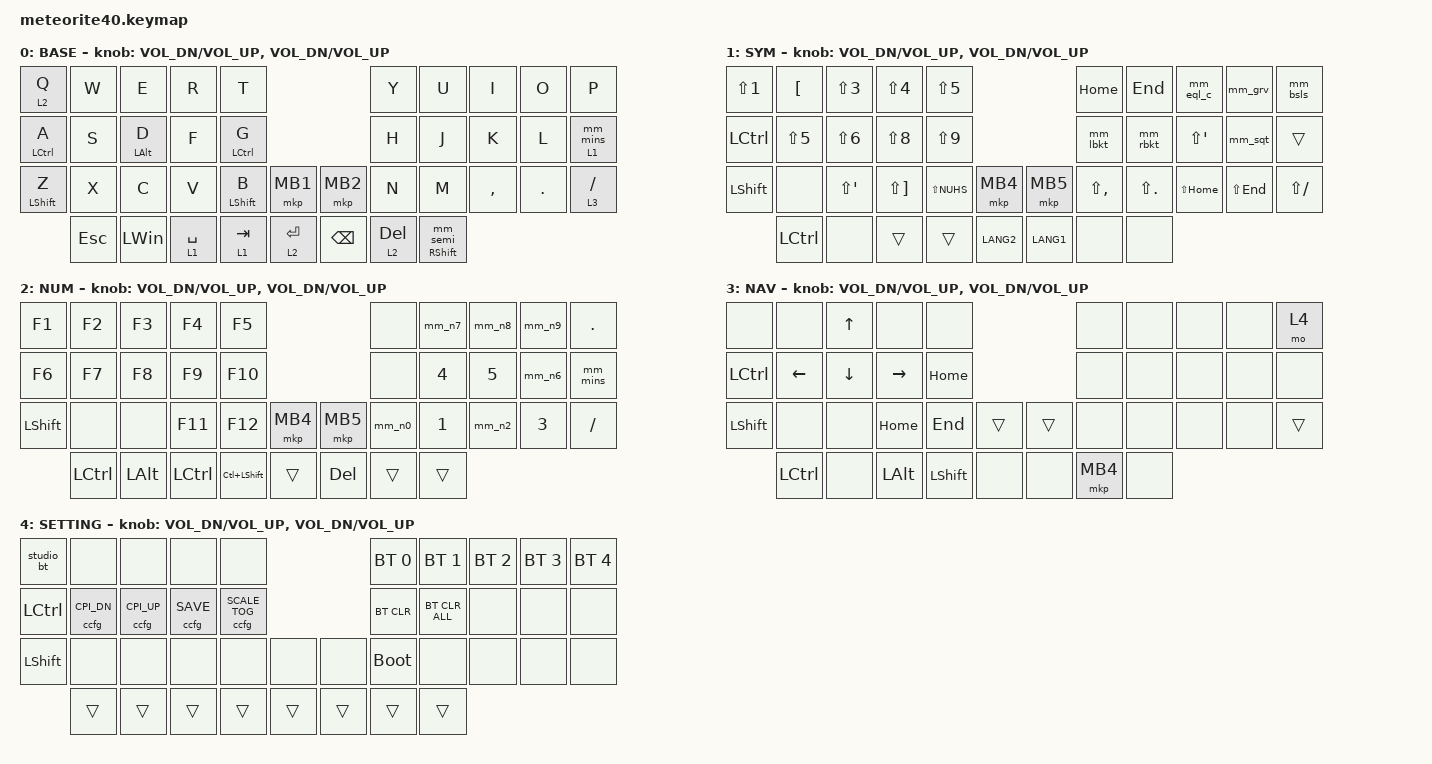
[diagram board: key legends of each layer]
#include <behaviors.dtsi>
#include <dt-bindings/zmk/bt.h>
#include <dt-bindings/zmk/keys.h>

#define ZMK_POINTING_DEFAULT_SCRL_VAL 200
#include <dt-bindings/zmk/pointing.h>

#include <behaviors/custom_config.dtsi>
#include <behaviors/meteorite_custom_key.dtsi>
#include <behaviors/meteorite_bt_os.dtsi>
#include <behaviors/meteorite_mod_key.dtsi>
#include <behaviors/meteorite_os_key.dtsi>
#include <behaviors/studio_bt_disc.dtsi>
#include <dt-bindings/zmk/custom_config.h>
#include <dt-bindings/zmk/meteorite_custom_keys.h>
#include <dt-bindings/zmk/meteorite_bt_os.h>

// ---------------------------------------------------------------------------
// murai keymap: Keyball39のUS配列レイアウトを移植し、OSはJIS設定のまま
// US配列の打鍵感で使う。Shiftペアの差異は mod-morph で吸収する。
//
// JIS設定のOSで目的の文字が出るキーコード定義 (US刻印基準)
#define JP_AT    LBKT       // @
#define JP_CIRC  EQUAL      // ^
#define JP_AMPR  LS(N6)     // &
#define JP_ASTR  LS(SQT)    // *
#define JP_LPRN  LS(N8)     // (
#define JP_RPRN  LS(N9)     // )
#define JP_UNDS  LS(INT1)   // _
#define JP_EQL   LS(MINUS)  // =
#define JP_PLUS  LS(SEMI)   // +
#define JP_LBKT  RBKT       // [
#define JP_LCBR  LS(RBKT)   // {
#define JP_RBKT  NUHS       // ]
#define JP_RCBR  LS(NUHS)   // }
#define JP_BSLS  INT3       // (yen)
#define JP_PIPE  LS(INT3)   // |
#define JP_COLN  SQT        // :
#define JP_QUOT  LS(N7)     // '
#define JP_DQUO  LS(N2)     // "
#define JP_GRV   LS(LBKT)   // `
#define JP_TILD  LS(EQUAL)  // ~

&mt {
    flavor = "tap-preferred"; // change hold to tap
    tapping-term-ms = <200>;
    meteorite-tapping-term-source = "mod-tap";
    quick-tap-ms = <150>; // change 200 to 150
    require-prior-idle-ms = <(-1)>;
};

&lt {
    flavor = "tap-preferred";
    tapping-term-ms = <150>; // change 200 to 150
    meteorite-tapping-term-source = "layer-tap";
    quick-tap-ms = <150>; // change 200 to 150
    require-prior-idle-ms = <(-1)>;
};

/ {
    behaviors {
        // ---- US→JIS変換 mod-morph (Shift押下時だけ別コードを送る) ----
        // 単押し/Shift押しがUS配列と同じ文字になるよう、JIS上のコードへ差し替える
        mm_n2: mm_n2 { // 2 @
            compatible = "zmk,behavior-mod-morph"; #binding-cells = <0>;
            bindings = <&kp N2>, <&kp JP_AT>;
            mods = <(MOD_LSFT|MOD_RSFT)>;
        };
        mm_n6: mm_n6 { // 6 ^
            compatible = "zmk,behavior-mod-morph"; #binding-cells = <0>;
            bindings = <&kp N6>, <&kp JP_CIRC>;
            mods = <(MOD_LSFT|MOD_RSFT)>;
        };
        mm_n7: mm_n7 { // 7 &
            compatible = "zmk,behavior-mod-morph"; #binding-cells = <0>;
            bindings = <&kp N7>, <&kp JP_AMPR>;
            mods = <(MOD_LSFT|MOD_RSFT)>;
        };
        mm_n8: mm_n8 { // 8 *
            compatible = "zmk,behavior-mod-morph"; #binding-cells = <0>;
            bindings = <&kp N8>, <&kp JP_ASTR>;
            mods = <(MOD_LSFT|MOD_RSFT)>;
        };
        mm_n9: mm_n9 { // 9 (
            compatible = "zmk,behavior-mod-morph"; #binding-cells = <0>;
            bindings = <&kp N9>, <&kp JP_LPRN>;
            mods = <(MOD_LSFT|MOD_RSFT)>;
        };
        mm_n0: mm_n0 { // 0 )
            compatible = "zmk,behavior-mod-morph"; #binding-cells = <0>;
            bindings = <&kp N0>, <&kp JP_RPRN>;
            mods = <(MOD_LSFT|MOD_RSFT)>;
        };
        mm_mins: mm_mins { // - _
            compatible = "zmk,behavior-mod-morph"; #binding-cells = <0>;
            bindings = <&kp MINUS>, <&kp JP_UNDS>;
            mods = <(MOD_LSFT|MOD_RSFT)>;
        };
        mm_eql: mm_eql { // = +
            compatible = "zmk,behavior-mod-morph"; #binding-cells = <0>;
            bindings = <&kp JP_EQL>, <&kp JP_PLUS>;
            mods = <(MOD_LSFT|MOD_RSFT)>;
        };
        mm_eql_c: mm_eql_c { // Ctrl併用時はJISの';'キーを送る
            // JISで'='は Shift+'-' のためアプリには Ctrl+Shift+'-' に見え、
            // キー位置(VK)でショートカット判定するアプリ(Zed等)の Ctrl+= が効かない。
            // JISの';'キーはUS配列の'='キーと同じVK_OEM_PLUSなので、Ctrl中はそれを送って
            // ズームイン等のショートカットを通す(Shift併用のブラウザズームもOK)。
            compatible = "zmk,behavior-mod-morph"; #binding-cells = <0>;
            bindings = <&mm_eql>, <&kp SEMI>;
            mods = <(MOD_LCTL|MOD_RCTL)>;
            keep-mods = <(MOD_LCTL|MOD_RCTL)>;
        };
        mm_lbkt: mm_lbkt { // [ {
            compatible = "zmk,behavior-mod-morph"; #binding-cells = <0>;
            bindings = <&kp JP_LBKT>, <&kp JP_LCBR>;
            mods = <(MOD_LSFT|MOD_RSFT)>;
        };
        mm_rbkt: mm_rbkt { // ] }
            compatible = "zmk,behavior-mod-morph"; #binding-cells = <0>;
            bindings = <&kp JP_RBKT>, <&kp JP_RCBR>;
            mods = <(MOD_LSFT|MOD_RSFT)>;
        };
        mm_bsls: mm_bsls { // \ |
            compatible = "zmk,behavior-mod-morph"; #binding-cells = <0>;
            bindings = <&kp JP_BSLS>, <&kp JP_PIPE>;
            mods = <(MOD_LSFT|MOD_RSFT)>;
        };
        mm_semi: mm_semi { // ; :
            compatible = "zmk,behavior-mod-morph"; #binding-cells = <0>;
            bindings = <&kp SEMI>, <&kp JP_COLN>;
            mods = <(MOD_LSFT|MOD_RSFT)>;
        };
        mm_sqt: mm_sqt { // ' "
            compatible = "zmk,behavior-mod-morph"; #binding-cells = <0>;
            bindings = <&kp JP_QUOT>, <&kp JP_DQUO>;
            mods = <(MOD_LSFT|MOD_RSFT)>;
        };
        mm_grv: mm_grv { // ` ~
            compatible = "zmk,behavior-mod-morph"; #binding-cells = <0>;
            bindings = <&kp JP_GRV>, <&kp JP_TILD>;
            mods = <(MOD_LSFT|MOD_RSFT)>;
        };

        // ---- mod-morphをタップ側に持つ hold-tap ----
        lt_mins: lt_mins { // ホールド=レイヤー / タップ= -(Shiftで_)
            compatible = "zmk,behavior-hold-tap";
            #binding-cells = <2>;
            flavor = "tap-preferred";
            tapping-term-ms = <150>;
            meteorite-tapping-term-source = "layer-tap";
            quick-tap-ms = <150>;
            bindings = <&mo>, <&mm_mins>;
            display-name = "LT minus(JIS)";
        };
        mt_semi: mt_semi { // ホールド=修飾 / タップ= ;(Shiftで:)
            compatible = "zmk,behavior-hold-tap";
            #binding-cells = <2>;
            flavor = "tap-preferred";
            tapping-term-ms = <200>;
            meteorite-tapping-term-source = "mod-tap";
            quick-tap-ms = <150>;
            bindings = <&kp>, <&mm_semi>;
            display-name = "MT semi(JIS)";
        };

        enc_msc: encoder_mouse_scroll {
            compatible = "zmk,behavior-sensor-rotate-var";
            #sensor-binding-cells = <2>;
            bindings = <&msc>, <&msc>;
            tap-ms = <25>;
            display-name = "Encoder Mouse Scroll";
        };

        enc_kp: encoder_key_press {
            compatible = "zmk,behavior-sensor-rotate-var";
            #sensor-binding-cells = <2>;
            bindings = <&kp>, <&kp>;
            tap-ms = <25>;
            display-name = "Encoder Key Press";
        };
    };

    // 出荷時コンボは誤爆防止のためゼロ (IMEは記号レイヤー+親指に移設)。
    // ノード自体はStudioコンボ編集基盤(combo.c)のコンパイルに必須なので空で残す。
    // 必要になればMeteorite Studioからコンボを追加できる。
    combos {
        compatible = "zmk,combos";
    };

    keymap {
        compatible = "zmk,keymap";
        layout = &LAYOUT_SPLIT_SPACE;

        win_default_layer {
            display-name = "BASE";
            bindings = <
                &lt 2 Q       &kp W  &kp E        &kp R  &kp T                                    &kp Y  &kp U  &kp I      &kp O    &kp P
                &mt LCTRL A   &kp S  &mt LALT D   &kp F  &mt LCTRL G                              &kp H  &kp J  &kp K      &kp L    &lt_mins 1 0
                &mt LSHIFT Z  &kp X  &kp C        &kp V  &mt LSHIFT B   &mkp MB1     &mkp MB2     &kp N  &kp M  &kp COMMA  &kp DOT  &lt 3 SLASH
                            &kp ESC  &kp LWIN  &lt 1 SPACE  &lt 1 TAB  &lt 2 ENTER    &kp BSPC  &lt 2 DEL  &mt_semi RSHIFT 0
            >;
            sensor-bindings =
                <&enc_kp C_VOL_DN C_VOL_UP>,
                <&enc_kp C_VOL_DN C_VOL_UP>;
        };

        layer_1 {
            display-name = "SYM";
            bindings = <
                &kp LS(N1)  &kp JP_AT   &kp LS(N3)  &kp LS(N4)   &kp LS(N5)                            &kp HOME      &kp END     &mm_eql_c     &mm_grv      &mm_bsls
                &kp LCTRL   &kp LS(N5)  &kp JP_AMPR &kp JP_LPRN  &kp JP_RPRN                           &mm_lbkt      &mm_rbkt    &kp JP_ASTR   &mm_sqt      &trans
                &kp LSHIFT  &none       &kp JP_ASTR &kp JP_LCBR  &kp JP_RCBR  &mkp MB4    &mkp MB5     &kp LS(COMMA) &kp LS(DOT) &kp LS(HOME)  &kp LS(END)  &kp LS(SLASH)
                            &kp LCTRL   &none       &trans       &trans       &kp LANG2   &kp LANG1    &none         &none
            >;
            sensor-bindings =
                <&enc_kp C_VOL_DN C_VOL_UP>,
                <&enc_kp C_VOL_DN C_VOL_UP>;
        };

        layer_2 {
            display-name = "NUM";
            bindings = <
                &kp F1      &kp F2   &kp F3   &kp F4     &kp F5                             &none   &mm_n7  &mm_n8  &mm_n9  &kp DOT
                &kp F6      &kp F7   &kp F8   &kp F9     &kp F10                            &none   &kp N4  &kp N5  &mm_n6  &mm_mins
                &kp LSHIFT  &none    &none    &kp F11    &kp F12   &mkp MB4     &mkp MB5    &mm_n0  &kp N1  &mm_n2  &kp N3  &kp SLASH
                            &kp LCTRL  &kp LALT  &kp LCTRL  &kp LC(LSHIFT)  &trans     &kp DEL  &trans  &trans
            >;
            sensor-bindings =
                <&enc_kp C_VOL_DN C_VOL_UP>,
                <&enc_kp C_VOL_DN C_VOL_UP>;
        };

        layer_3 {
            display-name = "NAV";
            bindings = <
                &none       &none     &kp UP    &none      &none                            &none  &none  &none  &none  &mo 4
                &kp LCTRL   &kp LEFT  &kp DOWN  &kp RIGHT  &kp HOME                         &none  &none  &none  &none  &none
                &kp LSHIFT  &none     &none     &kp HOME   &kp END   &trans     &trans      &none  &none  &none  &none  &trans
                            &kp LCTRL &none     &kp LALT   &kp LSHIFT  &none    &none       &mkp MB4  &none
            >;
            sensor-bindings =
                <&enc_kp C_VOL_DN C_VOL_UP>,
                <&enc_kp C_VOL_DN C_VOL_UP>;
        };

        layer_4 {
            display-name = "SETTING";
            bindings = <
                &studio_bt  &none  &none  &none  &none                          &bt BT_SEL 0  &bt BT_SEL 1    &bt BT_SEL 2  &bt BT_SEL 3  &bt BT_SEL 4
                &kp LCTRL   &ccfg C_CPI_DN  &ccfg C_CPI_UP  &ccfg C_SAVE  &ccfg C_SCALE_TOG      &bt BT_CLR    &bt BT_CLR_ALL  &none         &none         &none
                &kp LSHIFT  &none  &none  &none  &none      &none    &none      &bootloader   &none           &none         &none         &none
                            &trans &trans &trans &trans     &trans   &trans     &trans        &trans
            >;
            sensor-bindings =
                <&enc_kp C_VOL_DN C_VOL_UP>,
                <&enc_kp C_VOL_DN C_VOL_UP>;
        };
    };
};
